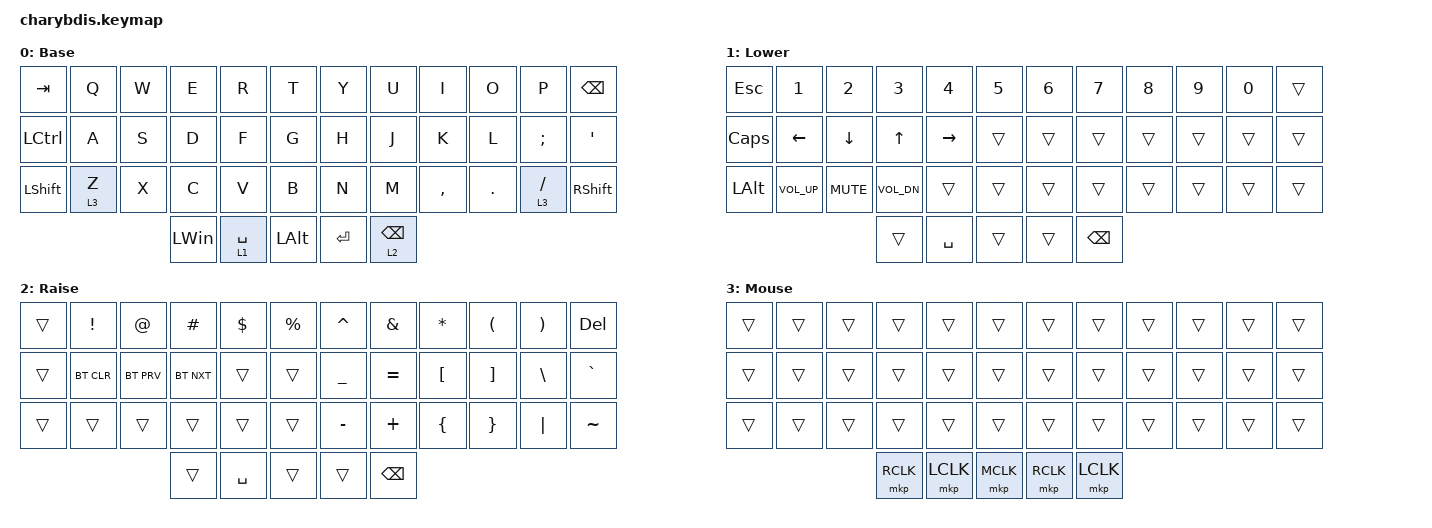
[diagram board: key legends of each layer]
#include <behaviors.dtsi>
#include <dt-bindings/zmk/mouse.h>
#include <dt-bindings/zmk/bt.h>
#include <dt-bindings/zmk/keys.h>

&lt {
    tapping-term-ms = <200>;
    flavor = "balanced";
    quick-tap-ms = <150>;
};

/ {
    keymap {
        compatible = "zmk,keymap";

        Base {
            label = "Base";
            bindings = <
&kp TAB         &kp Q    &kp W  &kp E     &kp R        &kp T           &kp Y      &kp U            &kp I      &kp O    &kp P        &kp BSPC
&kp LCTRL       &kp A    &kp S  &kp D     &kp F        &kp G           &kp H      &kp J            &kp K      &kp L    &kp SEMI     &kp APOS
&kp LEFT_SHIFT  &lt 3 Z  &kp X  &kp C     &kp V        &kp B           &kp N      &kp M            &kp COMMA  &kp DOT  &lt 3 SLASH  &kp RSHIFT
                                &kp LWIN  &lt 1 SPACE  &kp LEFT_ALT    &kp ENTER  &lt 2 BACKSPACE
            >;
        };

        Lower {
            label = "Lower";
            bindings = <
&kp ESCAPE    &kp NUMBER_1     &kp NUMBER_2  &kp NUMBER_3  &kp NUMBER_4     &kp NUMBER_5    &kp NUMBER_6      &kp NUMBER_7   &kp NUMBER_8  &kp NUMBER_9  &kp NUMBER_0  &trans
&kp CAPSLOCK  &kp LEFT         &kp DOWN      &kp UP_ARROW  &kp RIGHT_ARROW  &trans          &trans            &trans         &trans        &trans        &trans        &trans
&kp LEFT_ALT  &kp C_VOLUME_UP  &kp C_MUTE    &kp C_VOL_DN  &trans           &trans          &trans            &trans         &trans        &trans        &trans        &trans
                                             &trans        &kp SPACE        &trans          &trans            &kp BACKSPACE
            >;
        };

        Raise {
            label = "Raise";
            bindings = <
&trans  &kp EXCL    &kp AT      &kp HASH    &kp DLLR   &kp PRCNT           &kp CARET  &kp AMPS       &kp ASTERISK  &kp LPAR  &kp RPAR  &kp DEL
&trans  &bt BT_CLR  &bt BT_PRV  &bt BT_NXT  &trans     &trans              &kp UNDER  &kp EQUAL      &kp LBKT      &kp RBKT  &kp BSLH  &kp GRAVE
&trans  &trans      &trans      &trans      &trans     &trans              &kp MINUS  &kp PLUS       &kp LBRC      &kp RBRC  &kp PIPE  &kp TILDE
                                &trans      &kp SPACE  &trans              &trans     &kp BACKSPACE
            >;
        };

        Mouse {
            bindings = <
&trans  &trans  &trans  &trans     &trans     &trans       &trans     &trans     &trans  &trans  &trans  &trans
&trans  &trans  &trans  &trans     &trans     &trans       &trans     &trans     &trans  &trans  &trans  &trans
&trans  &trans  &trans  &trans     &trans     &trans       &trans     &trans     &trans  &trans  &trans  &trans
                        &mkp RCLK  &mkp LCLK  &mkp MCLK    &mkp RCLK  &mkp LCLK
            >;
        };
    };
};
